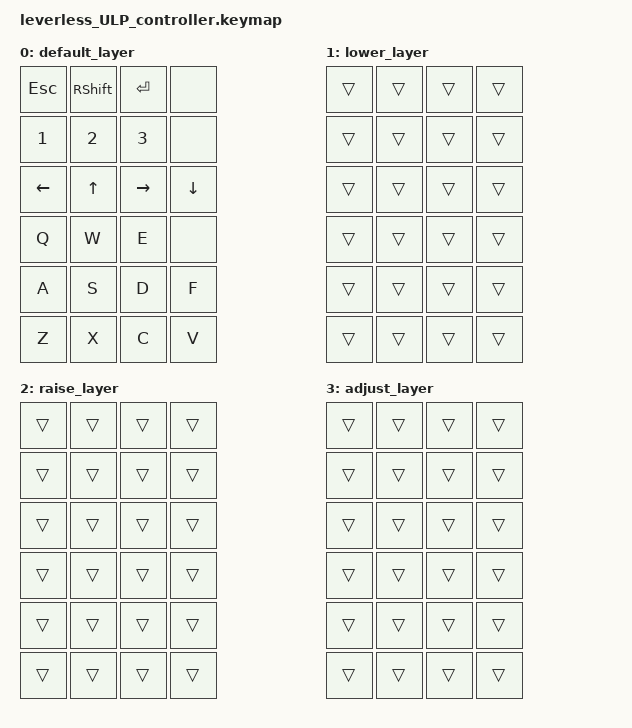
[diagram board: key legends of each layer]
#include <behaviors.dtsi>
#include <dt-bindings/zmk/keys.h>
#include <dt-bindings/zmk/bt.h>
#include <dt-bindings/zmk/outputs.h>
#include <dt-bindings/zmk/mouse.h>

#define DEFAULT 0
#define LWR 1
#define RSE 2
#define ADJ 3

/ {

    keymap {
        compatible = "zmk,keymap";

        default_layer {
            bindings = <
                &kp ESC   &kp RSHIFT  &kp ENTER &none                
                &kp N1    &kp N2      &kp N3    &none          
                &kp LEFT  &kp UP      &kp RIGHT  &kp DOWN          
                &kp Q     &kp W       &kp E     &none                                
                &kp A     &kp S       &kp D     &kp F  
                &kp Z     &kp X       &kp C     &kp V                                    
                                                                                                                                                    
            >;
        };

        lower_layer {
            bindings = <
                &trans     &trans   &trans    &trans            
                &trans     &trans   &trans    &trans          
                &trans     &trans   &trans    &trans          
                &trans     &trans   &trans    &trans                            
                &trans     &trans   &trans    &trans  
                &trans     &trans   &trans    &trans
                                                         
                                             
                                             
                                             
            >;
        };

        raise_layer {
            bindings = <
                &trans     &trans   &trans    &trans            
                &trans     &trans   &trans    &trans          
                &trans     &trans   &trans    &trans          
                &trans     &trans   &trans    &trans                            
                &trans     &trans   &trans    &trans  
                &trans     &trans   &trans    &trans                                                               
            >;
        };

        adjust_layer {
            bindings = <
                &trans     &trans   &trans    &trans            
                &trans     &trans   &trans    &trans          
                &trans     &trans   &trans    &trans          
                &trans     &trans   &trans    &trans                            
                &trans     &trans   &trans    &trans  
                &trans     &trans   &trans    &trans                                                                  
            >;
        };
    };
};
